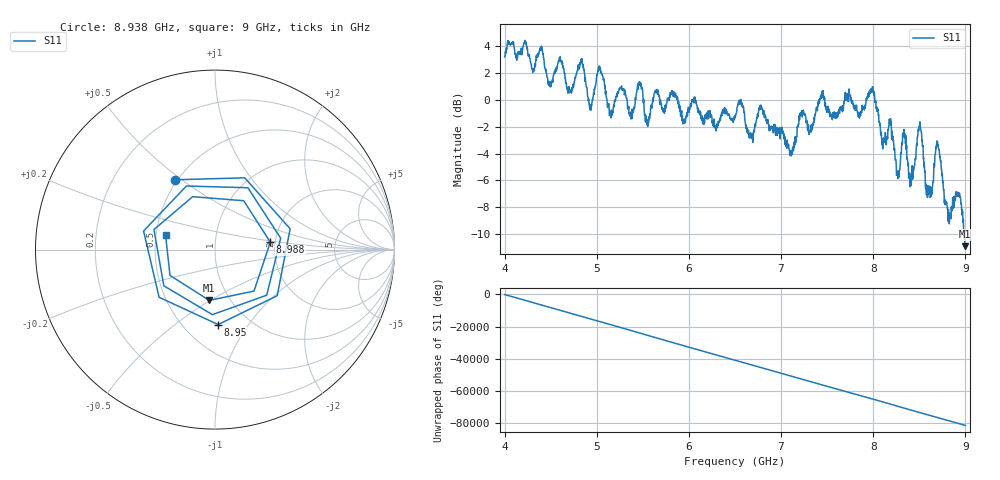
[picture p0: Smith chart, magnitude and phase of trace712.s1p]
! Created with skrf 1.8.0 (http://scikit-rf.org).
# Hz S RI R 50.0
!freq ReS11 ImS11
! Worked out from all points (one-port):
!   1601 points, 4 GHz to 9 GHz, reference 50 ohm
!   lowest |S11| = -10.9 dB at 8.994 GHz (marker M1), VSWR 1.80, Z = 40.2 - j24.7 ohm
!   |S11| at or under -10 dB: 8.983705 GHz to 8.990475 GHz (6.77 MHz wide, 0.0753 % of centre); 8.991098 GHz to end of sweep
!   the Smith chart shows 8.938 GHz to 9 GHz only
!   S11 on the Smith chart (normalised r, x): 8.938 GHz: 0.49, +0.47; 8.95 GHz: 0.72, -0.73; 8.988 GHz: 1.88, +0.17; 9 GHz: 0.56, +0.10
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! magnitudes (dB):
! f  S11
! 4 GHz  3.2
! 4.625 GHz  2.7
! 4.709 GHz  0.7
! 4.841 GHz  2.9
! 4.931 GHz  -0.6
! 5.025 GHz  2.5
! 5.15 GHz  -1.0
! 5.25 GHz  0.9
! 5.475 GHz  1.0
! 5.55 GHz  -1.5
! 5.875 GHz  0.2
! 6.5 GHz  -1.1
! 7.125 GHz  -3.5
! 7.222 GHz  -0.9
! 7.75 GHz  0.3
! 7.991 GHz  1.0
! 8.262 GHz  -5.4
! 8.331 GHz  -2.7
! 8.375 GHz  -4.6
! 8.506 GHz  -1.6
! 8.6 GHz  -7.0
! 8.694 GHz  -3.3
! 8.819 GHz  -8.9
! 8.938 GHz  -7.0
! 8.95 GHz  -7.6
! 8.988 GHz  -10.1
! 8.994 GHz  -10.9
! 9 GHz  -10.8
